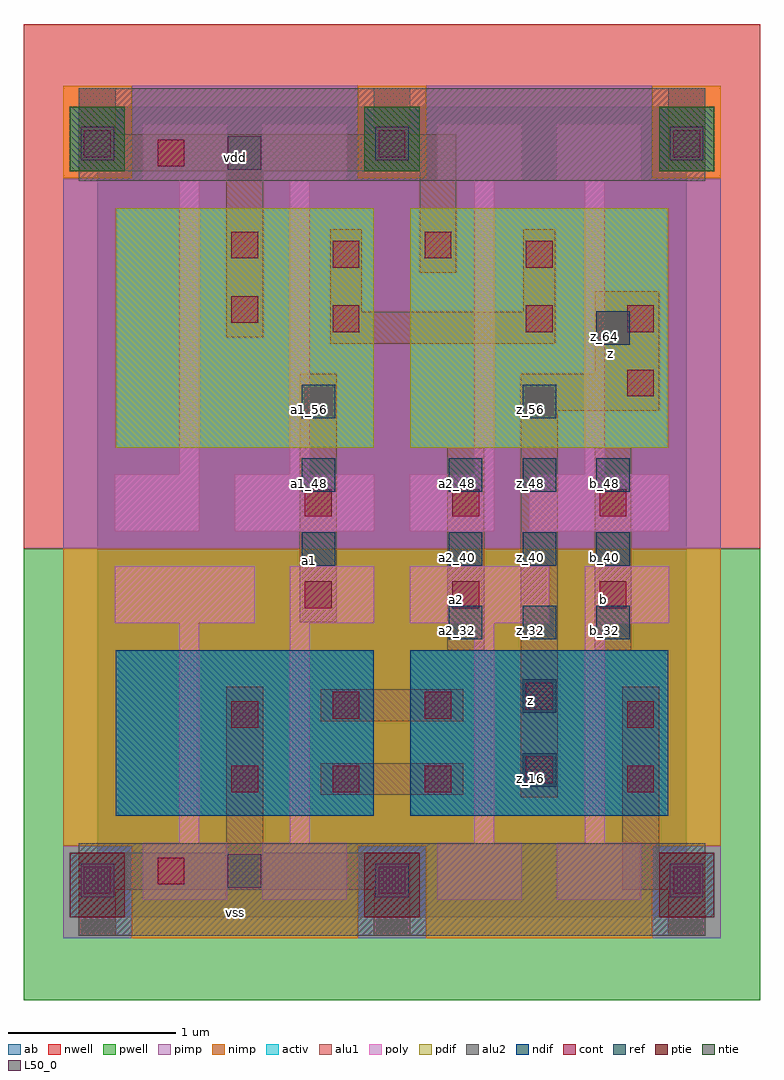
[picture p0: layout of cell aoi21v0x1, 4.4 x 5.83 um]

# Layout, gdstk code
import gdstk
lib = gdstk.Library(unit=1e-6, precision=2.5e-09)
def R(c, l, rs):  # rectangles x0, y0, x1, y1
    for r in rs: c.add(gdstk.rectangle(r[:2], r[2:], *l))
def A(c, l, x, y, w, h, nx, ny, dx, dy):  # array of equal rectangles
    R(c, l, [(x+i*dx, y+j*dy, x+i*dx+w, y+j*dy+h) for i in range(nx) for j in range(ny)])
ndif = (3, 0)
pdif = (4, 0)
ntie = (5, 0)
ptie = (6, 0)
ref = (24, 0)
cont = (25, 0)
pwell = (41, 0)
nwell = (42, 0)
activ = (43, 0)
pimp = (44, 0)
nimp = (45, 0)
poly = (46, 0)
alu1 = (49, 0)
L50_0 = (50, 0)
alu2 = (51, 0)
ab = (63, 0)

aoi21v0x1 = lib.new_cell('aoi21v0x1')
R(aoi21v0x1, ndif, [(0.11,0.605,1.65,1.595), (1.87,0.605,3.41,1.595)])
R(aoi21v0x1, pdif, [(0.11,2.805,1.65,4.235), (1.87,2.805,3.41,4.235)])
A(aoi21v0x1, ntie, -0.165, 4.455, 0.33, 0.385, 3, 1, 1.76, 0)
A(aoi21v0x1, ptie, -0.165, 0, 0.33, 0.385, 3, 1, 1.76, 0)
A(aoi21v0x1, ref, 2.1, 1.66, 0.2, 0.2, 3, 3, 0.44, 0.44)
A(aoi21v0x1, ref, 1.22, 2.1, 0.2, 0.2, 1, 3, 0, 0.44)
R(aoi21v0x1, ref, [(2.54,0.78,2.74,0.98), (2.54,1.22,2.74,1.42), (2.54,2.98,2.74,3.18), (2.98,3.42,3.18,3.62)])
A(aoi21v0x1, cont, -0.08, 0.14, 0.16, 0.16, 3, 2, 1.76, 4.4)
A(aoi21v0x1, cont, 1.24, 1.845, 0.16, 0.16, 3, 2, 0.88, 0.55)
R(aoi21v0x1, cont, [(0.36,0.195,0.52,0.355), (0.8,0.745,0.96,0.905), (1.405,0.745,1.565,0.905), (1.955,0.745,2.115,0.905), (3.165,0.745,3.325,0.905), (2.56,0.8,2.72,0.96), (0.8,1.13,0.96,1.29), (3.165,1.13,3.325,1.29), (1.405,1.185,1.565,1.345), (1.955,1.185,2.115,1.345), (2.56,1.24,2.72,1.4), (3.165,3.11,3.325,3.27), (1.405,3.495,1.565,3.655), (2.56,3.495,2.72,3.655), (3.165,3.495,3.325,3.655), (0.8,3.55,0.96,3.71), (1.405,3.88,1.565,4.04), (2.56,3.88,2.72,4.04), (0.8,3.935,0.96,4.095), (1.955,3.935,2.115,4.095), (0.36,4.485,0.52,4.645)])
R(aoi21v0x1, pwell, [(-0.44,-0.495,3.96,2.2)])
R(aoi21v0x1, nwell, [(-0.44,2.2,3.96,5.335)])
A(aoi21v0x1, activ, -0.165, 0, 0.33, 0.385, 3, 2, 1.76, 4.455)
R(aoi21v0x1, activ, [(0.11,0.605,1.65,1.595), (1.87,0.605,3.41,1.595), (0.11,2.805,1.65,4.235), (1.87,2.805,3.41,4.235)])
A(aoi21v0x1, pimp, -0.205, -0.125, 0.41, 0.55, 3, 1, 1.76, 0)
R(aoi21v0x1, pimp, [(-0.205,2.2,3.725,4.415), (0.205,4.415,1.555,4.965), (1.965,4.415,3.315,4.965)])
A(aoi21v0x1, nimp, -0.205, 4.415, 0.41, 0.55, 3, 1, 1.76, 0)
R(aoi21v0x1, nimp, [(0.205,-0.125,1.555,0.425), (1.965,-0.125,3.315,0.425), (-0.205,0.425,3.725,2.2)])
R(aoi21v0x1, poly, [(0.27,0.105,0.775,0.445), (0.985,0.105,1.49,0.445), (2.03,0.105,2.535,0.445), (2.745,0.105,3.25,0.445), (0.49,0.445,0.61,1.755), (1.15,0.445,1.27,1.755), (2.25,0.445,2.37,1.755), (2.91,0.445,3.03,1.755), (0.105,1.755,0.94,2.095), (1.15,1.755,1.655,2.095), (1.865,1.755,2.7,2.095), (2.91,1.755,3.415,2.095), (0.105,2.305,0.61,2.645), (0.82,2.305,1.655,2.645), (1.865,2.305,2.37,2.645), (2.58,2.305,3.415,2.645), (0.49,2.645,0.61,4.395), (1.15,2.645,1.27,4.395), (2.25,2.645,2.37,4.395), (2.91,2.645,3.03,4.395), (0.27,4.395,0.775,4.735), (0.985,4.395,1.49,4.735), (2.03,4.395,2.535,4.735), (2.745,4.395,3.25,4.735)])
A(aoi21v0x1, alu1, -0.11, -0.11, 0.22, 0.275, 3, 1, 1.76, 0)
R(aoi21v0x1, alu1, [(-0.11,0.165,1.87,0.385), (3.135,0.165,3.63,0.385), (0.77,0.385,0.99,1.375), (3.135,0.385,3.355,1.375), (2.53,0.715,2.75,3.025), (1.335,0.73,2.185,0.92), (1.335,1.17,2.185,1.36), (2.09,1.595,2.31,2.805), (2.97,1.595,3.19,2.805), (1.21,1.76,1.43,3.245), (2.53,3.025,3.355,3.245), (2.97,3.245,3.355,3.74), (1.39,3.425,2.735,3.615), (0.77,3.465,0.99,4.455), (1.39,3.615,1.58,4.11), (2.545,3.615,2.735,4.11), (1.925,3.85,2.145,4.455), (-0.11,4.455,2.145,4.675), (3.41,4.455,3.63,4.95), (-0.11,4.675,0.11,4.95), (1.65,4.675,1.87,4.95)])
A(aoi21v0x1, L50_0, -0.1, 0.12, 0.2, 0.2, 3, 2, 1.76, 4.4)
R(aoi21v0x1, L50_0, [(0.78,0.175,0.98,0.375), (0.78,4.465,0.98,4.665)])
R(aoi21v0x1, alu2, [(-0.11,-0.11,3.63,0.44), (-0.11,4.4,3.63,4.95)])
R(aoi21v0x1, ab, [(0,0,3.52,4.84)])
aoi21v0x1.add(gdstk.Label('b', (3.025,1.8975), layer=49, texttype=0))
aoi21v0x1.add(gdstk.Label('z', (2.585,1.2925), layer=49, texttype=0))
aoi21v0x1.add(gdstk.Label('a2', (2.145,1.8975), layer=49, texttype=0))
aoi21v0x1.add(gdstk.Label('a1', (1.265,2.13), layer=49, texttype=0))
aoi21v0x1.add(gdstk.Label('z', (3.065,3.3675), layer=49, texttype=0))
aoi21v0x1.add(gdstk.Label('vss', (0.825,0.0275), layer=51, texttype=0))
aoi21v0x1.add(gdstk.Label('vdd', (0.825,4.5375), layer=51, texttype=0))
aoi21v0x1.add(gdstk.Label('z_56', (2.59,3.03), layer=24, texttype=0))
aoi21v0x1.add(gdstk.Label('z_64', (3.03,3.47), layer=24, texttype=0))
aoi21v0x1.add(gdstk.Label('a1_56', (1.27,3.03), layer=24, texttype=0))
aoi21v0x1.add(gdstk.Label('a1_48', (1.27,2.59), layer=24, texttype=0))
aoi21v0x1.add(gdstk.Label('a1_40', (1.27,2.15), layer=24, texttype=0))
aoi21v0x1.add(gdstk.Label('a2_48', (2.15,2.59), layer=24, texttype=0))
aoi21v0x1.add(gdstk.Label('a2_40', (2.15,2.15), layer=24, texttype=0))
aoi21v0x1.add(gdstk.Label('a2_32', (2.15,1.71), layer=24, texttype=0))
aoi21v0x1.add(gdstk.Label('b_48', (3.03,2.59), layer=24, texttype=0))
aoi21v0x1.add(gdstk.Label('b_40', (3.03,2.15), layer=24, texttype=0))
aoi21v0x1.add(gdstk.Label('b_32', (3.03,1.71), layer=24, texttype=0))
aoi21v0x1.add(gdstk.Label('z_48', (2.59,2.59), layer=24, texttype=0))
aoi21v0x1.add(gdstk.Label('z_40', (2.59,2.15), layer=24, texttype=0))
aoi21v0x1.add(gdstk.Label('z_32', (2.59,1.71), layer=24, texttype=0))
aoi21v0x1.add(gdstk.Label('z_24', (2.59,1.27), layer=24, texttype=0))
aoi21v0x1.add(gdstk.Label('z_16', (2.59,0.83), layer=24, texttype=0))

lib.write_gds('aoi21v0x1.gds')
